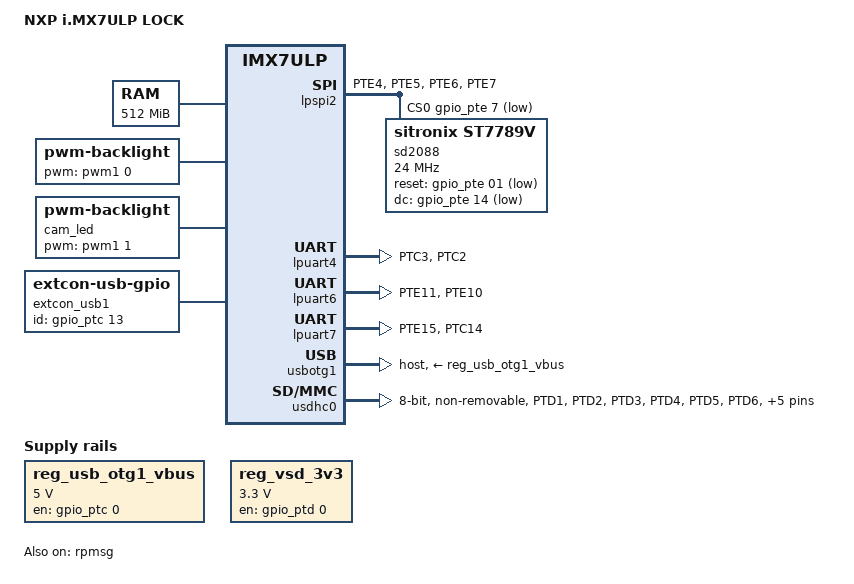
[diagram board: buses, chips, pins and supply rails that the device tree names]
/*
 * Copyright 2016 Freescale Semiconductor, Inc.
 * Copyright 2017 NXP.
 *
 * This program is free software; you can redistribute it and/or modify
 * it under the terms of the GNU General Public License version 2 as
 * published by the Free Software Foundation.
 */

/dts-v1/;

#include "imx7ulp.dtsi"
#include <dt-bindings/input/input.h>

/ {
	model = "NXP i.MX7ULP LOCK";
	compatible = "fsl,imx7ulp-lock", "fsl,imx7ulp", "Generic DT based system";


	chosen {
		stdout-path = &lpuart4;
	};

	memory {
		device_type = "memory";
		reg = <0x60000000 0x20000000>;
	};

	backlight {
		compatible = "pwm-backlight";
		pwms = <&pwm1 0 5000000>;
		brightness-levels = <0 0 25 30 35 40 100>;
		default-brightness-level = <1>;
		status = "okay";
	};

	cam_led {
		compatible = "pwm-backlight";
		pwms = <&pwm1 1 1000000>;
		brightness-levels = <0 10 30 50 70 99>;
		default-brightness-level = <0>;
		status = "okay";
	};
/*
	mipi_dsi_reset: mipi-dsi-reset {
		compatible = "gpio-reset";
		reset-gpios = <&gpio_ptc 19 GPIO_ACTIVE_LOW>;
		reset-delay-us = <1000>;
		#reset-cells = <0>;
		status = "ok";
	};
*/
	regulators {
		compatible = "simple-bus";
		#address-cells = <1>;
		#size-cells = <0>;

		reg_usb_otg1_vbus: regulator@0 {
			compatible = "regulator-fixed";
			reg = <0>;
			pinctrl-names = "default", "sleep";
			pinctrl-0 = <&pinctrl_usb_otg1>;
			pinctrl-1 = <&pinctrl_usb_otg1>;
			regulator-name = "usb_otg1_vbus";
			regulator-min-microvolt = <5000000>;
			regulator-max-microvolt = <5000000>;
			gpio = <&gpio_ptc 0 GPIO_ACTIVE_HIGH>;
			enable-active-high;
		};

		reg_vsd_3v3: regulator@1 {
			compatible = "regulator-fixed";
			reg = <1>;
			regulator-name = "VSD_3V3";
			regulator-min-microvolt = <3300000>;
			regulator-max-microvolt = <3300000>;
			gpio = <&gpio_ptd 0 GPIO_ACTIVE_HIGH>;
			enable-active-high;
		};

	};

	extcon_usb1: extcon_usb1 {
		compatible = "linux,extcon-usb-gpio";
		id-gpio = <&gpio_ptc 13 GPIO_ACTIVE_HIGH>;
		pinctrl-names = "default", "sleep";
		pinctrl-0 = <&pinctrl_extcon_usb1>;
		pinctrl-1 = <&pinctrl_extcon_usb1>;
	};

	pf1550-rpmsg {
		compatible = "fsl,pf1550-rpmsg";
		sw1_reg: SW1 {
				regulator-name = "SW1";
				regulator-min-microvolt = <600000>;
				regulator-max-microvolt = <1387500>;
				regulator-boot-on;
				regulator-always-on;
		};

		sw2_reg: SW2 {
				regulator-name = "SW2";
				regulator-min-microvolt = <600000>;
				regulator-max-microvolt = <1387500>;
				regulator-boot-on;
				regulator-always-on;
		};

		sw3_reg: SW3 {
				regulator-name = "SW3";
				regulator-min-microvolt = <1800000>;
				regulator-max-microvolt = <3300000>;
				regulator-boot-on;
				regulator-always-on;
		};

		vref_reg: VREFDDR {
				regulator-name = "VREFDDR";
				regulator-min-microvolt = <1200000>;
				regulator-max-microvolt = <1200000>;
				regulator-boot-on;
				regulator-always-on;
		};

		vldo1_reg: LDO1 {
				regulator-name = "LDO1";
				regulator-min-microvolt = <750000>;
				regulator-max-microvolt = <3300000>;
				regulator-always-on;
		};

		vldo2_reg: LDO2 {
				regulator-name = "LDO2";
				regulator-min-microvolt = <1800000>;
				regulator-max-microvolt = <3300000>;
				regulator-always-on;
		};

		vldo3_reg: LDO3 {
				regulator-name = "LDO3";
				regulator-min-microvolt = <750000>;
				regulator-max-microvolt = <3300000>;
				regulator-always-on;
		};
	};

	rpmsg_keys: rpmsg-keys {
		compatible = "fsl,rpmsg-keys";

		power-on {
			label = "PowerOn";
			linux,code = <KEY_POWER>;
			rpmsg-key,wakeup;
		};
	};

	/* for normal zImage and fastboot dtb file */
	rpmsg_i2s: rpmsg-i2s {
		compatible = "fsl,imx7ulp-rpmsg-i2s";
		// the audio device index in m4 domain
		fsl,audioindex = <0> ;
		status = "okay";
	};
};

&cpu0 {
	arm-supply= <&sw1_reg>;
};

&iomuxc1 {
	pinctrl-names = "default";
	pinctrl-0 = <&pinctrl_hog_1>;

	imx7ulp-lock {
		pinctrl_hog_1: hoggrp-1 {
			fsl,pins = <
				IMX7ULP_PAD_PTC1__PTC1	0x20000
				IMX7ULP_PAD_PTE13__PTE13 0x20000
			>;
		};

		pinctrl_pwm_backlight: pwm_backlight_grp {
			fsl,pins = <
				//IMX7ULP_PAD_PTC14__TPM7_CH0	0x3
				//IMX7ULP_PAD_PTC14__PTC14	0x0
			>;
		};

		pinctrl_pwm_led: pwm_led_grp {
			fsl,pins = <
				//IMX7ULP_PAD_PTC15__TPM7_CH1	0x3
			>;
		};

		pinctrl_lpi2c4: lpi2c4grp {
			fsl,pins = <
				IMX7ULP_PAD_PTE0__LPI2C4_SCL		0x27
				IMX7ULP_PAD_PTE1__LPI2C4_SDA		0x27
			>;
		};

		pinctrl_lpi2c5: lpi2c5grp {
			fsl,pins = <
				IMX7ULP_PAD_PTC4__LPI2C5_SCL		0x27
				IMX7ULP_PAD_PTC5__LPI2C5_SDA		0x27
				IMX7ULP_PAD_PTC6__LPI2C5_HREQ		0x27
			>;
		};

		pinctrl_lpi2c6: lpi2c6grp {
			fsl,pins = <
				IMX7ULP_PAD_PTC8__LPI2C6_SCL        0x27
				IMX7ULP_PAD_PTC9__LPI2C6_SDA        0x27
			>;
		};

		pinctrl_lpi2c6_sleep: lpi2c6_sleep_grp {
			fsl,pins = <
				IMX7ULP_PAD_PTC8__PTC8                0x20027
				IMX7ULP_PAD_PTC9__PTC9                0x20027
			>;
		};

		
/*
		pinctrl_mipi_dsi_reset: mipi_dsi_reset_grp {
			fsl,pins = <
				IMX7ULP_PAD_PTC19__PTC19	0x20003
			>;
		};
*/
		pinctrl_lpuart4: lpuart4grp {
			fsl,pins = <
				IMX7ULP_PAD_PTC3__LPUART4_RX	0x3
				IMX7ULP_PAD_PTC2__LPUART4_TX	0x3
			>;
		};


		pinctrl_lpuart6: lpuart6grp {
			fsl,pins = <
				IMX7ULP_PAD_PTE11__LPUART6_RX	0x3
				IMX7ULP_PAD_PTE10__LPUART6_TX	0x3
			>;
		};

		pinctrl_lpuart7: lpuart7grp {
			fsl,pins = <
				IMX7ULP_PAD_PTE15__LPUART7_RX	0x3
				IMX7ULP_PAD_PTC14__LPUART7_TX	0x3
			>;
		};

		pinctrl_usdhc0_8bit: usdhc0grp_8bit {
			fsl,pins = <
				IMX7ULP_PAD_PTD1__SDHC0_CMD	0x43
				IMX7ULP_PAD_PTD2__SDHC0_CLK	0x10042
				IMX7ULP_PAD_PTD3__SDHC0_D7	0x43
				IMX7ULP_PAD_PTD4__SDHC0_D6	0x43
				IMX7ULP_PAD_PTD5__SDHC0_D5	0x43
				IMX7ULP_PAD_PTD6__SDHC0_D4	0x43
				IMX7ULP_PAD_PTD7__SDHC0_D3	0x43
				IMX7ULP_PAD_PTD8__SDHC0_D2	0x43
				IMX7ULP_PAD_PTD9__SDHC0_D1	0x43
				IMX7ULP_PAD_PTD10__SDHC0_D0	0x43
				IMX7ULP_PAD_PTD11__SDHC0_DQS	0x42
			>;
		};

                pinctrl_lpspi2: lpspi2grp {
                        fsl,pins = <
                                IMX7ULP_PAD_PTE4__LPSPI2_SIN      0x0
                                IMX7ULP_PAD_PTE5__LPSPI2_SOUT     0x0
                                IMX7ULP_PAD_PTE6__LPSPI2_SCK      0x0
                                //IMX7ULP_PAD_PTE7__LPSPI2_PCS0     0x0
                        >;
                };

                pinctrl_lpspi2_cs: lpspi2cs {
                        fsl,pins = <
                                IMX7ULP_PAD_PTE7__PTE7     0x10003 
                        >;
                };
                pinctrl_st7789v: st7789vgrp {
                        fsl,pins = <
                                IMX7ULP_PAD_PTE1__PTE1          0x10003
                                //IMX7ULP_PAD_PTE15__PTE15        0x10003
                                IMX7ULP_PAD_PTE14__PTE14          0x10003                                               
                        >;
                };  
                
      
                /* pinctrl_lpspi3: lpspi3grp {
                        fsl,pins = <
                                IMX7ULP_PAD_PTE12__LPSPI3_SIN      0x0
                                IMX7ULP_PAD_PTF17__LPSPI3_SOUT     0x0
                                IMX7ULP_PAD_PTF18__LPSPI3_SCK      0x0
                               
                        >;
                };

                pinctrl_lpspi3_cs: lpspi3cs {
                        fsl,pins = <
                                IMX7ULP_PAD_PTF19__PTF19     0x10003
                        >;
                };*/
                

                
		pinctrl_usb_otg1: usbotg1grp {
			fsl,pins = <
				IMX7ULP_PAD_PTC0__PTC0          0x20000
			>;
		};

		pinctrl_extcon_usb1: extcon1grp {
			fsl,pins = <
				IMX7ULP_PAD_PTC13__PTC13        0x10003
			>;
		};

		

		pinctrl_camera_ov7725: camera_grp_ov7725 {
			fsl,pins = <
				IMX7ULP_PAD_PTF5__PTF5      0x20043  /*CAMERA ENABLE*/
				IMX7ULP_PAD_PTF4__PTF4      0x20043  /*CAMERA RESET */
				IMX7ULP_PAD_PTF3__VIU_PCLK  0x10043  /*CAMEAR PCLK  */
				IMX7ULP_PAD_PTF1__VIU_HSYNC 0x10043  /*CAMEAR HSYNC  */
				IMX7ULP_PAD_PTF2__VIU_VSYNC 0x10043  /*CAMEAR VSYNC  */
				IMX7ULP_PAD_PTF7__VIU_D3    0x43
				IMX7ULP_PAD_PTF8__VIU_D4    0x43
				IMX7ULP_PAD_PTF9__VIU_D5    0x43
				IMX7ULP_PAD_PTF10__VIU_D6   0x43
				IMX7ULP_PAD_PTF11__VIU_D7   0x43
				IMX7ULP_PAD_PTF14__VIU_D10  0x43
				IMX7ULP_PAD_PTF15__VIU_D11  0x43
				IMX7ULP_PAD_PTF16__VIU_D12  0x43
			>;
		};
	};
};
/*
&lcdif {
	status = "okay";
	disp-dev = "mipi_dsi_northwest";
	display = <&display0>;

	display0: display@0 {
		bits-per-pixel = <16>;
		bus-width = <24>;

		display-timings {
			native-mode = <&timing0>;
			timing0: timing0 {
			clock-frequency = <9200000>;
			hactive = <480>;
			vactive = <272>;
			hfront-porch = <8>;
			hback-porch = <4>;
			hsync-len = <41>;
			vback-porch = <2>;
			vfront-porch = <4>;
			vsync-len = <10>;

			hsync-active = <0>;
			vsync-active = <0>;
			de-active = <1>;
			pixelclk-active = <0>;
			};
		};
	};
};

&mipi_dsi {
	pinctrl-names = "default", "sleep";
	pinctrl-0 = <&pinctrl_mipi_dsi_reset>;
	pinctrl-1 = <&pinctrl_mipi_dsi_reset>;
	lcd_panel = "TRULY-WVGA-ST7701S";
	resets = <&mipi_dsi_reset>;
	status = "okay";
};
*/


&lpspi2 {
        #address-cells = <1>;
        #size-cells = <0>;
        pinctrl-names = "default", "sleep";
        pinctrl-0 = <&pinctrl_lpspi2 &pinctrl_lpspi2_cs>;
        cs-gpios = <&gpio_pte 7 GPIO_ACTIVE_LOW>;
        //pinctrl-1 = <&pinctrl_lpspi2>; 
        status = "okay";

        sd2088@0 {
                compatible = "sitronix,st7789v";
                reg = <0>;
                // add pin ctrl
                pinctrl-names = "default";
                pinctrl-0 = <&pinctrl_st7789v>;

                spi-max-frequency = <24000000>;
                rotate = <0>;
                bgr;
                fps = <15>;
                buswidth = <8>;
                reset-gpios = <&gpio_pte 01 GPIO_ACTIVE_LOW>;
                /*reset-gpios = <&gpio_pte 15 GPIO_ACTIVE_LOW>;*/
                dc-gpios = <&gpio_pte 14 GPIO_ACTIVE_LOW>;
                /*led-gpios = <&gpio_pte 13 GPIO_ACTIVE_HIGH>;*/
                debug = <0>; 
        };
        
};

/*&lpspi3 {
        #address-cells = <1>;
        #size-cells = <0>;
        pinctrl-names = "default", "sleep";
        pinctrl-0 = <&pinctrl_lpspi3 &pinctrl_lpspi3_cs>;
        cs-gpios = <&gpio_ptf 19 GPIO_ACTIVE_LOW>;
        //pinctrl-1 = <&pinctrl_lpspi2>; 
        status = "okay";

        spidev1: spi@0{            
                reg = <0>;
                compatible = "Hisi,3861L";
                pinctrl-names = "default";
                spi-max-frequency = <30000000>;
        };
        
};*/



&lpuart4 { /* console */
	pinctrl-names = "default", "sleep";
	pinctrl-0 = <&pinctrl_lpuart4>;
	pinctrl-1 = <&pinctrl_lpuart4>;
	status = "okay";
};

&lpuart6 { /* for MCU */
	pinctrl-names = "default", "sleep";
	pinctrl-0 = <&pinctrl_lpuart6>;
	pinctrl-1 = <&pinctrl_lpuart6>;
	status = "okay";
};

&lpuart7 { /* for WIFI model */
	pinctrl-names = "default", "sleep";
	pinctrl-0 = <&pinctrl_lpuart7>;
	pinctrl-1 = <&pinctrl_lpuart7>;
	status = "okay";
};

/*&pwm1 {
	pinctrl-names = "default", "sleep";
	pinctrl-0 = <&pinctrl_pwm_backlight &pinctrl_pwm_led>;
	pinctrl-1 = <&pinctrl_pwm_backlight &pinctrl_pwm_led>;
	status = "okay";
};*/

&rpmsg {
	/*
	 * 64K for one rpmsg instance, default using 2 rpmsg instances:
	 * --0x7FF00000~0x7FF0FFFF: pmic,pm,audio,keys,gpio,sensor
	 * --0x7FF10000~0x7FF1FFFF: pingpong,virtual tty
	 */
	vdev-nums = <2>;/* hannah modified from <1> to <2> */
	reg = <0x7FF00000 0x20000>;/* merge emcp patch 190708*/
	status = "okay";
};

&rpmsg_reserved {
	no-map;
	reg = <0x7FF00000 0x100000>;
};

&usbotg1 {
	vbus-supply = <&reg_usb_otg1_vbus>;
	extcon = <0>, <&extcon_usb1>;
	dr_mode = "host";
	srp-disable;
	hnp-disable;
	adp-disable;
	status = "okay";
};

&usbphy1 {
	tx-d-cal = <0xc>;
};

&usdhc0 {
	pinctrl-names = "default", "state_100mhz", "state_200mhz", "sleep";
	pinctrl-0 = <&pinctrl_usdhc0_8bit>;
	pinctrl-1 = <&pinctrl_usdhc0_8bit>;
	pinctrl-2 = <&pinctrl_usdhc0_8bit>;
	pinctrl-3 = <&pinctrl_usdhc0_8bit>;
	non-removable;
	bus-width = <8>;
	status = "okay";
};
